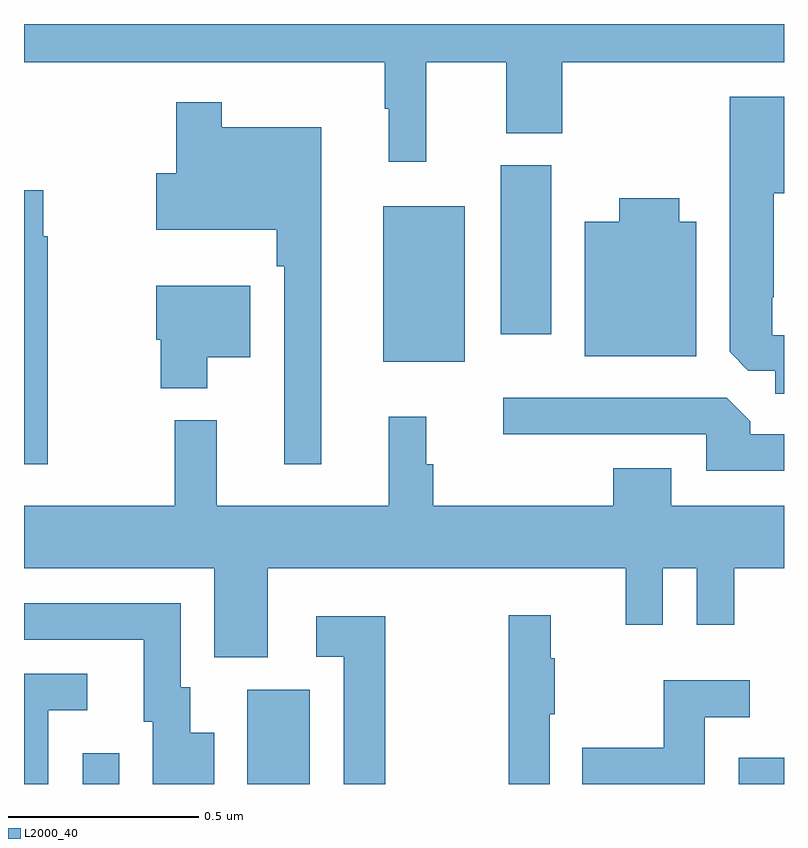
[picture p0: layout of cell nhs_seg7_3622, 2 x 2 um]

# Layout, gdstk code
import gdstk
lib = gdstk.Library(unit=1e-6, precision=1e-09)
def R(c, l, rs):  # rectangles x0, y0, x1, y1
    for r in rs: c.add(gdstk.rectangle(r[:2], r[2:], *l))
def P(c, l, *ps):  # polygons
    for p in ps: c.add(gdstk.Polygon(p, *l))
L2000_40 = (2000, 40)

nhs_seg7_3622 = lib.new_cell('nhs_seg7_3622')
R(nhs_seg7_3622, L2000_40, [(161.154,1048,161.25,1048.081), (161.588,1048,161.752,1048.248), (162.881,1048,163,1048.069), (161.945,1049.111,162.16,1049.521), (162.254,1049.184,162.388,1049.628)])
P(nhs_seg7_3622, L2000_40, [(162.059,1049.9),(162.269,1049.9),(162.269,1049.713),(162.417,1049.713),(162.417,1049.9),(163,1049.9),(163,1050),(161,1050),(161,1049.9),(161.949,1049.9),(161.949,1049.777),(161.96,1049.777),(161.96,1049.637),(162.059,1049.637)],
  [(163,1049.181),(162.969,1049.181),(162.969,1049.281),(162.973,1049.281),(162.973,1049.555),(163,1049.555),(163,1049.809),(162.857,1049.809),(162.857,1049.137),(162.906,1049.088),(162.977,1049.088),(162.977,1049.027),(163,1049.027)],
  [(161.782,1049.728),(161.521,1049.728),(161.521,1049.794),(161.4,1049.794),(161.4,1049.607),(161.348,1049.607),(161.348,1049.459),(161.665,1049.459),(161.665,1049.363),(161.685,1049.363),(161.685,1048.842),(161.782,1048.842)],
  [(161.062,1049.442),(161.05,1049.442),(161.05,1049.563),(161,1049.563),(161,1048.842),(161.062,1048.842)],
  [(162.769,1049.479),(162.724,1049.479),(162.724,1049.542),(162.566,1049.542),(162.566,1049.479),(162.476,1049.479),(162.476,1049.126),(162.769,1049.126)],
  [(161.482,1049.123),(161.596,1049.123),(161.596,1049.311),(161.348,1049.311),(161.348,1049.169),(161.36,1049.169),(161.36,1049.042),(161.482,1049.042)],
  [(163,1048.92),(162.911,1048.92),(162.911,1048.954),(162.849,1049.016),(162.261,1049.016),(162.261,1048.92),(162.795,1048.92),(162.795,1048.824),(163,1048.824)],
  [(161.641,1048.568),(162.584,1048.568),(162.584,1048.419),(162.681,1048.419),(162.681,1048.568),(162.771,1048.568),(162.771,1048.419),(162.869,1048.419),(162.869,1048.568),(163,1048.568),(163,1048.732),(162.703,1048.732),(162.703,1048.831),(162.551,1048.831),(162.551,1048.732),(162.077,1048.732),(162.077,1048.841),(162.059,1048.841),(162.059,1048.966),(161.96,1048.966),(161.96,1048.732),(161.507,1048.732),(161.507,1048.957),(161.397,1048.957),(161.397,1048.732),(161,1048.732),(161,1048.568),(161.501,1048.568),(161.501,1048.333),(161.641,1048.333)],
  [(161.5,1048.135),(161.437,1048.135),(161.437,1048.254),(161.412,1048.254),(161.412,1048.476),(161,1048.476),(161,1048.38),(161.315,1048.38),(161.315,1048.164),(161.339,1048.164),(161.339,1048),(161.5,1048)],
  [(162.384,1048.183),(162.397,1048.183),(162.397,1048.331),(162.386,1048.331),(162.386,1048.444),(162.276,1048.444),(162.276,1048),(162.384,1048)],
  [(161.95,1048.441),(161.769,1048.441),(161.769,1048.335),(161.841,1048.335),(161.841,1048),(161.95,1048)],
  [(161.064,1048.194),(161.167,1048.194),(161.167,1048.29),(161,1048.29),(161,1048),(161.064,1048)],
  [(162.792,1048.176),(162.91,1048.176),(162.91,1048.273),(162.684,1048.273),(162.684,1048.095),(162.469,1048.095),(162.469,1048),(162.792,1048)])

lib.write_gds('nhs_seg7_3622.gds')
